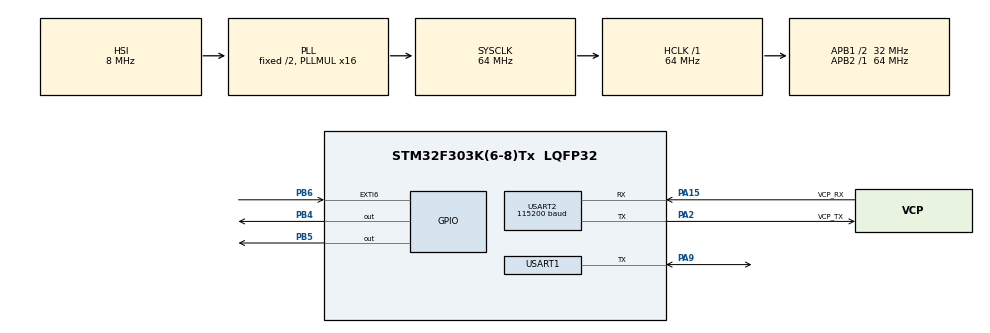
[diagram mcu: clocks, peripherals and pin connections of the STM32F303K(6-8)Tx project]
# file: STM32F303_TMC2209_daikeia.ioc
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Mcu.Family=STM32F3
Mcu.Name=STM32F303K(6-8)Tx
Mcu.Package=LQFP32
NVIC.EXTI9_5_IRQn=true\:0\:0\:false\:false\:true\:true\:true\:true
NVIC.PriorityGroup=NVIC_PRIORITYGROUP_4
NVIC.TIM3_IRQn=true\:0\:0\:false\:false\:true\:true\:true\:true
NVIC.USART2_IRQn=true\:0\:0\:false\:false\:true\:true\:true\:true
PA13.GPIO_Label=SWDIO
PA13.Mode=Serial_Wire
PA13.Signal=SYS_JTMS-SWDIO
PA14.GPIO_Label=SWCLK
PA14.Mode=Serial_Wire
PA14.Signal=SYS_JTCK-SWCLK
PA15.GPIO_Label=VCP_RX
PA15.Mode=Asynchronous
PA15.Signal=USART2_RX
PA2.GPIO_Label=VCP_TX
PA2.Mode=Asynchronous
PA2.Signal=USART2_TX
PA9.Mode=Half_duplex(single_wire_mode)
PA9.Signal=USART1_TX
PB4.Signal=GPIO_Output
PB5.Signal=GPIO_Output
PB6.GPIO_ModeDefaultEXTI=GPIO_MODE_IT_RISING_FALLING
PB6.Signal=GPXTI6
PF0\ /\ OSC_IN.GPIO_Label=MCO
PF0\ /\ OSC_IN.Signal=RCC_OSC_IN
ProjectManager.HeapSize=0x200
ProjectManager.StackSize=0x400
ProjectManager.TargetToolchain=STM32CubeIDE
RCC.AHBFreq_Value=64000000
RCC.APB1CLKDivider=RCC_HCLK_DIV2
RCC.APB1Freq_Value=32000000
RCC.APB1TimFreq_Value=64000000
RCC.APB2Freq_Value=64000000
RCC.APB2TimFreq_Value=64000000
RCC.CortexFreq_Value=64000000
RCC.HCLKFreq_Value=64000000
RCC.HSE_VALUE=8000000
RCC.HSI_VALUE=8000000
RCC.PLLMUL=RCC_PLL_MUL16
RCC.SYSCLKFreq_VALUE=64000000
RCC.SYSCLKSourceVirtual=RCC_SYSCLKSOURCE_PLLCLK
TIM3.Channel-Output\ Compare1\ No\ Output=TIM_CHANNEL_1
TIM3.Prescaler=128-1
USART1.BaudRate=115200
USART1.VirtualMode-Half_duplex(single_wire_mode)=VM_ASYNC
USART2.BaudRate=115200
USART2.VirtualMode-Asynchronous=VM_ASYNC
VP_TIM3_VS_ClockSourceINT.Mode=Internal
VP_TIM3_VS_no_output1.Mode=Output Compare1 No Output
board=NUCLEO-F303K8

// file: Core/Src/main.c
/* USER CODE BEGIN Header */
/**
  ******************************************************************************
  * @file           : main.c
  * @brief          : Main program body
  ******************************************************************************
  * @attention
  *
  * Copyright (c) 2022 STMicroelectronics.
  * All rights reserved.
  *
  * This software is licensed under terms that can be found in the LICENSE file
  * in the root directory of this software component.
  * If no LICENSE file comes with this software, it is provided AS-IS.
  *
  ******************************************************************************
  */
/* USER CODE END Header */
#include "main.h"

/* USER CODE BEGIN Includes */
#include <stdio.h>
#include "tmc/ic/TMC2209/TMC2209.h"
#include <math.h>

/* USER CODE END Includes */

/* USER CODE BEGIN PTD */
typedef struct {
	float acceleration;
	volatile unsigned int minStepInterval;
	void (*dirFunc)(int);
	void (*stepFunc)();

	uint8_t homing;
	unsigned int c0;
	volatile int stepPosition;

	volatile int dir; // 1 or -1
	volatile int dir_inv; //set 1 to reverse the dir

	volatile int pull_off; //set pull_off distance

	volatile int seeking_vel;
	volatile int homing_vel;

	volatile unsigned int totalSteps;

	volatile char movementDone;
	volatile unsigned int rampUpStepCount;
	volatile unsigned int n; // index
	volatile float d; // current interval length
	volatile unsigned long di; // d -> unsigned  di
	volatile unsigned int stepCount;

}stepperInfo;   //stepperInfo型の構造体にメンバを格納

/* USER CODE END PTD */

/* USER CODE BEGIN PD */
#define TMC2209_CRC(data, length) tmc_CRC8(data, length, 1)
//#define NUM_STEPPERS 1

/* USER CODE END PD */

 TIM_HandleTypeDef htim3;

UART_HandleTypeDef huart1;
UART_HandleTypeDef huart2;

/* USER CODE BEGIN PV */
//static TMC2209TypeDef TMC2209; //TMC2209の設定などの定義
//static ConfigurationTypeDef *TMC2209_config; //TMC2209の設定
TMC2209TypeDef TMC2209; //TMC2209の設定などの定義
ConfigurationTypeDef TMC2209_config; //TMC2209の設定

volatile stepperInfo steppers[0];    //stepperInfo型の配列stepperにNUM_STEPPERSで定義した値を代入
uint8_t end_stop_state = 0;
uint8_t homing_flag = 0;
/* USER CODE END PV */

void SystemClock_Config(void);
static void MX_GPIO_Init(void);
static void MX_USART2_UART_Init(void);
static void MX_USART1_UART_Init(void);
static void MX_TIM3_Init(void);
/* USER CODE BEGIN PFP */
//static void periodicJob(uint32_t tick);
static uint8_t reset(void);
static uint8_t restore(void);
//static TMC2209TypeDef TMC2209;

/* USER CODE END PFP */

/* USER CODE BEGIN 0 */

/*void HAL_TIM_PeriodElapsedCallback(TIM_HandleTypeDef *htim)
{
    if (htim == &htim3){ //htim3に設定したタイマー割り込みの時間で発火する
        HAL_GPIO_TogglePin(GPIOB, GPIO_PIN_5);//ピンの出力を切り替え
    }
}*/
void tmc2209_readWriteArray(uint8_t channel, uint8_t *data, size_t writeLength, size_t readLength)
{
	//set your uart read write
	//UART_readWrite(channelToUART(channel), data, writeLength, readLength);
	HAL_HalfDuplex_EnableTransmitter(&huart1);
	HAL_UART_Transmit(&huart1, data, writeLength,3000);

	if(readLength > 0){
		HAL_HalfDuplex_EnableReceiver(&huart1);
		HAL_UART_Receive(&huart1, data, readLength, 3000);
	}
}

uint8_t tmc2209_CRC8(uint8_t *data, size_t length)
{
	return TMC2209_CRC(data, length);
}

//static void periodicJob(uint32_t tick)
//{
//
//	tmc2209_periodicJob(&TMC2209, tick);
//
//	//StepDir_periodicJob(0);
//}

static uint8_t reset()
{
	//StepDir_init(STEPDIR_PRECISION);
	//StepDir_setPins(0, Pins.STEP, Pins.DIR, Pins.DIAG);

	return tmc2209_reset(&TMC2209);
}

static uint8_t restore()
{
	return tmc2209_restore(&TMC2209);
}

void TMC2209_INIT()
{
	tmc_fillCRC8Table(0x07, true, 1);

	TMC2209_config.reset = reset;
	TMC2209_config.restore = restore;
	tmc2209_init(&TMC2209, 0, 0, &TMC2209_config, &tmc2209_defaultRegisterResetState[0]);

	//restore();
}

static inline TMC2209TypeDef *motorToIC(uint8_t motor)
{
	UNUSED(motor);

	return &TMC2209;
}

void HAL_GPIO_EXTI_Callback(uint16_t GPIO_Pin)
{

	//stepper 0 end stop senssor
	if(GPIO_Pin == GPIO_PIN_6 ){
		if(!HAL_GPIO_ReadPin(GPIOB, GPIO_PIN_6)){	//
			end_stop_state |= 1;					//右辺が1ならend_stop_stateに1を代入
		}
		else if(HAL_GPIO_ReadPin(GPIOB, GPIO_PIN_6)){
			end_stop_state &= ~1;					//右辺（1）の歩数が0ならend_stop_stateに0を代入
		}
	}
}

void Step0(){                                       //step pin
	//pull+

	HAL_GPIO_WritePin(GPIOB, GPIO_PIN_5, GPIO_PIN_RESET);
	HAL_GPIO_WritePin(GPIOB, GPIO_PIN_5, GPIO_PIN_SET);
	/*
	 * pull-
	 * HAL_GPIO_WritePin(GPIOB, GPIO_PIN_5, GPIO_PIN_SET);
	 * HAL_GPIO_WritePin(GPIOB, GPIO_PIN_5, GPIO_PIN_RESET);
	 */
}

void Dir0(int dir){
	HAL_GPIO_WritePin(GPIOB, GPIO_PIN_4, dir); //Dir0関数にdirピンを指定して格納
}

void resetStepperInfo(stepperInfo * si){    //resetStepperInfo関数に引数をstepperInfo構造隊にポイント型変数siとして与える
	si->n = 0;  //変数*siがメンバnにアクセス.した値に0を代入する
	si->d = 0;
	si->di = 0;
	si->stepCount = 0;
	si->rampUpStepCount = 0;
	si->totalSteps = 0;
	si->stepPosition = 0;
	si->movementDone = 0;
}

void resetStepper(volatile stepperInfo* si){    //resetStepper関数に引数をstepperInfo構造隊にポイント型変数siとして与える
	si->c0 = si->acceleration;      //変数*siがメンバc0にアクセス.した値に変数*siがメンバaccelerationにアクセス.した値を代入する
	si->d = si->c0;
	si->di = si->d;
	si->stepCount = 0;
	si->n = 0;
	si->rampUpStepCount = 0;
	si->movementDone = 0;
}

//volatile uint8_t remainingSteppersFlag = 0; //remainingSteppersFlagをuint8_t型で定義し、初期化

void prepareMovement(int steps){  //prepareMovementで与えられたステップ数だけモータを回す（ホーミング時）
	if(steps == 0){                               //prepareMovementの第2引数が0なら
		return;                                   //何も返さない
	}
	volatile stepperInfo* si = &steppers[0];   //stepperInfo型のポイント型変数siにsteppersの配列をwhichMotorのアドレスとして所得して代入
	if(si->dir_inv){                                    //dirの方向がsiと同じなら
		si->dirFunc( steps < 0 ? 0 : 1);                //stepsが0より小さければ0を代入（方向変えない)
		si->dir = steps > 0 ? -1:1;                     //stepsが0より大きければ、dirに-1を代入
	}else{
		si->dirFunc( steps < 0 ? 1 : 0);
		si->dir = steps > 0 ? 1:-1;
	}
	si->totalSteps = abs(steps);                        //ポイント型変数siがメンバtotalStepsにアクセスし、stepsを引数にするabsを代入
	resetStepper(si);                                   //resetStepperにsiを引数として入れる
	//remainingSteppersFlag |= (1 << whichMotor);         //whichMotorの値を右側に1ビットシフトした値かremainingSteppersFlagの値が1なら、remainingSteppersFlagに1を代入
}

void prepareAbsoluteMovement(int absolute_steps){   //prepareAbsoluteMovementで与えられたステップ数だけモータを回す(main文から）
	volatile stepperInfo* si = &steppers[0];	//steppers[0]のアドレスをstepperInfo* si に代入
	int steps = absolute_steps - si->stepPosition;	//目標値から
	if(steps == 0){
		return;
	}
	si->dirFunc( steps < 0 ? 1 : 0);
	si->dir = steps > 0 ? 1:-1;
	si->totalSteps = abs(steps);
	resetStepper(si);
	//remainingSteppersFlag |= (1 << whichMotor);
}

volatile uint8_t nextStepperFlag = 0;

void setNextInterruptInterval(){

	unsigned int mind = 999999;

		if( steppers[0].di < mind ){
			mind = steppers[0].di;
		}

	nextStepperFlag = 0;

		if( steppers[0].di == mind ){
			nextStepperFlag |= (1 << 0);
		}

//	if (remainingSteppersFlag == 0){
//		__HAL_TIM_SET_COMPARE(&htim3, TIM_CHANNEL_1, 65500);    //65500→コンペアマッチさせない
//	}

	//__HAL_TIM_SET_COMPARE(&htim3, TIM_CHANNEL_1, mind);
	return;

}

void HAL_TIM_OC_DelayElapsedCallback(TIM_HandleTypeDef *htim){      //指定したコンペアを超えた時発火
	//HAL_TIM_OC_Stop_IT(&htim3, TIM_CHANNEL_1);
	unsigned int tmpCtr = __HAL_TIM_GET_COMPARE(&htim3, TIM_CHANNEL_1);
	__HAL_TIM_SET_COMPARE(&htim3, TIM_CHANNEL_1, 65500);

		if ( ! (nextStepperFlag) ){
			steppers[0].di -= tmpCtr;           //compareの値から1引いた値をsteppers[0].diに代入
		}

		volatile stepperInfo* s = &steppers[0];

		if( (s->stepCount) < (s->totalSteps) ){
			s->stepFunc();
			s->stepCount++;
			s->stepPosition += s->dir;
			if ( (s->stepCount) >= (s->totalSteps) ){
				s->movementDone = 1;
			}
		}

		if (s->rampUpStepCount == 0){
			s->n++;
			s->d = s->d - (2*s->d) / (4*s->n +1);	//加速の式
			if (s->d <= s->minStepInterval ){
				s->d = s->minStepInterval;
				s->rampUpStepCount = s->stepCount;
			}
			if (s->stepCount >= (s->totalSteps / 2) ){
				s->rampUpStepCount = s->stepCount;
			}
		} else if ( s->stepCount >= s->totalSteps - s->rampUpStepCount) {
			s->d = (s->d * (4 * s->n + 1)) / (4 * s->n + 1 -2);
			s->n--;
		}
		s->di = s->d;	//計算結果sをstepperInfoのメンバdに代入したものをメンバdiに代入

	setNextInterruptInterval();

	__HAL_TIM_SET_COUNTER(&htim3, 0);

}

void sensorStateInit(){
	if( ! HAL_GPIO_ReadPin(GPIOB, GPIO_PIN_6)){	//割り込みピンが真でない(1でない=0なら)
		end_stop_state |= 1;					//end_stop_stateに左辺か右辺が1なら1を代入
	}
}

void runAndWait(){
	setNextInterruptInterval();
	//while(remainingSteppersFlag);
}

void stepperHoming(){
	//homing_flag |= (1 << whichMotor);
	//seeking
	steppers[0].minStepInterval = steppers[0].seeking_vel;
	prepareMovement(-100000000);
	runAndWait();
	HAL_Delay(500);
	//pull-off

	homing_flag &= ~1;	//homing_flagの値と1の補数(11111110)をビットAND演算して、homing_flagに代入
	prepareMovement(steppers[0].pull_off);
	runAndWait();
	HAL_Delay(500);
	//homing

	homing_flag |= 1;
	steppers[0].minStepInterval = steppers[0].homing_vel;
	prepareMovement(-100000000);
	runAndWait();
	HAL_Delay(500);
	//pull-off
	homing_flag &= ~1;
	prepareMovement(steppers[0].pull_off);
	runAndWait();
	HAL_Delay(500);

	steppers[0].stepPosition = 0;
	steppers[0].homing = 1;
	steppers[0].minStepInterval = 100;
}

void TMCsetup(){
	int32_t mstep_value = 0;
	int32_t toff_value = 0;
	int32_t microstep_value = 0;
	int32_t stanby_value = 0;
	int32_t max_value = 0;
	mstep_value = TMC2209_FIELD_READ(&TMC2209, TMC2209_GCONF, TMC2209_MSTEP_REG_SELECT_MASK,TMC2209_MSTEP_REG_SELECT_SHIFT);	//uartでのmicrostepの有効化
	printf("mstep_before : %ld\r\n", mstep_value);
	mstep_value = 1;
	TMC2209_FIELD_UPDATE(&TMC2209, TMC2209_GCONF, TMC2209_MSTEP_REG_SELECT_MASK, TMC2209_MSTEP_REG_SELECT_SHIFT,mstep_value);
	tmc2209_periodicJob(&TMC2209, HAL_GetTick());
	mstep_value=TMC2209_FIELD_READ(&TMC2209, TMC2209_GCONF, TMC2209_MSTEP_REG_SELECT_MASK, TMC2209_MSTEP_REG_SELECT_SHIFT);
	printf("mstep_after : %ld\r\n", mstep_value);

	toff_value=TMC2209_FIELD_READ(&TMC2209, TMC2209_CHOPCONF, TMC2209_TOFF_MASK, TMC2209_TOFF_SHIFT);	//保持トルクの設定
	printf("toff_before : %ld\r\n", toff_value);
	toff_value = 3;
	TMC2209_FIELD_UPDATE(&TMC2209, TMC2209_CHOPCONF, TMC2209_TOFF_MASK, TMC2209_TOFF_SHIFT,toff_value);
	tmc2209_periodicJob(&TMC2209, HAL_GetTick());
	toff_value=TMC2209_FIELD_READ(&TMC2209, TMC2209_CHOPCONF, TMC2209_TOFF_MASK, TMC2209_TOFF_SHIFT);
	printf("toff_after : %ld\r\n", toff_value);

	microstep_value = 256 >> TMC2209_FIELD_READ(&TMC2209, TMC2209_CHOPCONF, TMC2209_MRES_MASK, TMC2209_MRES_SHIFT);	//microstepの設定
	printf("microstep_before : %ld\r\n", microstep_value);
	microstep_value = 4;
	TMC2209_FIELD_UPDATE(&TMC2209, TMC2209_CHOPCONF, TMC2209_MRES_MASK, TMC2209_MRES_SHIFT,microstep_value);
	tmc2209_periodicJob(&TMC2209, HAL_GetTick());
	microstep_value = 256 >> TMC2209_FIELD_READ(&TMC2209, TMC2209_CHOPCONF, TMC2209_MRES_MASK, TMC2209_MRES_SHIFT);
	printf("microstep_after : %ld\r\n", microstep_value);

	stanby_value=TMC2209_FIELD_READ(&TMC2209,TMC2209_IHOLD_IRUN, TMC2209_IHOLD_MASK, TMC2209_IHOLD_SHIFT);	//待機電流の設定
	printf("stanbycurrent_before: %ld\r\n", stanby_value);
	stanby_value = 10;
	TMC2209_FIELD_UPDATE(&TMC2209,TMC2209_IHOLD_IRUN, TMC2209_IHOLD_MASK, TMC2209_IHOLD_SHIFT, stanby_value);
	tmc2209_periodicJob(&TMC2209, HAL_GetTick());
	HAL_Delay(200);
	stanby_value=TMC2209_FIELD_READ(&TMC2209,TMC2209_IHOLD_IRUN, TMC2209_IHOLD_MASK, TMC2209_IHOLD_SHIFT);
	printf("stanbycurrent_after: %ld\r\n", stanby_value);

	max_value=TMC2209_FIELD_READ(&TMC2209, TMC2209_IHOLD_IRUN, TMC2209_IRUN_MASK, TMC2209_IRUN_SHIFT);	//最大電流の設定
	printf("maxumum_before: %ld\r\n", max_value);
	max_value = 10;
	TMC2209_FIELD_UPDATE(&TMC2209, TMC2209_IHOLD_IRUN, TMC2209_IRUN_MASK, TMC2209_IRUN_SHIFT, max_value);
	tmc2209_periodicJob(&TMC2209, HAL_GetTick());
	HAL_Delay(200);
	max_value=TMC2209_FIELD_READ(&TMC2209, TMC2209_IHOLD_IRUN, TMC2209_IRUN_MASK, TMC2209_IRUN_SHIFT);
	printf("maxumum_after: %ld\r\n", max_value);

}

/* USER CODE END 0 */

int main(void)
{
  /* USER CODE BEGIN 1 */
	setbuf(stdout, NULL);

  /* USER CODE END 1 */

  /* MCU Configuration--------------------------------------------------------*/

  /* Reset of all peripherals, Initializes the Flash interface and the Systick. */
  HAL_Init();

  /* Configure the system clock */
  SystemClock_Config();

  /* Initialize all configured peripherals */
  MX_GPIO_Init();
  MX_USART2_UART_Init();
  MX_USART1_UART_Init();
  MX_TIM3_Init();
  /* USER CODE BEGIN 2 */
  //int getserial=0;
  TMC2209_INIT();
  TMCsetup();
  printf("Hello\r\n");

  //int i;
   char rxbuf[1];
   char start[] ="1:front,2:back\r\n";
   char front[] ="front turn\r\n";
   char back[] ="back turn\r\n";
   char nonans[] ="Not Understand \r\n";

   HAL_UART_Transmit(&huart2,(uint8_t *)start,sizeof(start),3000);

  //printf("Start \r\n");

  //uint8_t rxbuf[1];
   //int32_t *value=3;

   //TMC2209_FIELD_UPDATE(&TMC2209, TMC2209_CHOPCONF, TMC2209_MRES_MASK, TMC2209_MRES_SHIFT, 3 );
   //Set stepper 1
   steppers[0].dirFunc = Dir0;
   steppers[0].stepFunc = Step0;
   steppers[0].acceleration = 5000;
   steppers[0].minStepInterval = 100;
   steppers[0].homing = 0;
   steppers[0].dir_inv = 1;
   steppers[0].seeking_vel = 100;
   steppers[0].homing_vel = 200;
   steppers[0].pull_off = 500;
     //Stepper 1 enable
    //pull+
   //HAL_GPIO_WritePin(GPIOB, GPIO_PIN_10, GPIO_PIN_SET);  //ena pin
    //pull-
    //HAL_GPIO_WritePin(GPIOB, GPIO_PIN_10, GPIO_PIN_RESET);

   //HAL_TIM_OC_Start_IT(&htim3, TIM_CHANNEL_1);

  /* USER CODE END 2 */

  /* Infinite loop */
  while (1)
  {

    /* USER CODE BEGIN 3 */
	  //example read register value
	  //int32_t value = 0;
	  HAL_UART_Receive(&huart2,(uint8_t *)rxbuf, sizeof(rxbuf), 100);
	  	  if (rxbuf[0] != 0){

	  		  HAL_UART_Transmit(&huart2,(uint8_t *)start, sizeof(start),3000);
	  		  //tmc2209_writeInt(motorToIC(motor), TMC2209_TPWMTHRS, *value);
	  		  if(rxbuf[0] == '1'){
	  			  HAL_UART_Transmit(&huart2,(uint8_t *)front, sizeof(front),3000);
	  			  printf("1:start");
	  			  prepareAbsoluteMovement(10000);
	  			  //runAndWait();
	  			  HAL_Delay(100);
	  			  prepareAbsoluteMovement(-10000);
	  			  //runAndWait();
	  			  HAL_Delay(100);
	  			  printf("1:end");

	  		  	  rxbuf[0]=0;
	  		  }
	  		  else if(rxbuf[0] == '2'){

	  			  HAL_UART_Transmit(&huart2,(uint8_t *)back, sizeof(back),3000);
	  			  prepareMovement(-100000);
	  			  runAndWait();
	  			  HAL_Delay(100);
	  			  	  //HAL_Delay(100);

	  			  rxbuf[0]=0;
	  		  }
	  		  else if(rxbuf[0] == '3'){
	  			  int32_t toff_value = 0;

				  toff_value=TMC2209_FIELD_READ(&TMC2209, TMC2209_CHOPCONF, TMC2209_TOFF_MASK, TMC2209_TOFF_SHIFT);
				  printf("toff_before : %ld\r\n", toff_value);
				  toff_value = 0;
				  TMC2209_FIELD_UPDATE(&TMC2209, TMC2209_CHOPCONF, TMC2209_TOFF_MASK, TMC2209_TOFF_SHIFT,toff_value);
				  tmc2209_periodicJob(&TMC2209, HAL_GetTick());
				  toff_value=TMC2209_FIELD_READ(&TMC2209, TMC2209_CHOPCONF, TMC2209_TOFF_MASK, TMC2209_TOFF_SHIFT);
				  printf("toff_after : %ld\r\n", toff_value);

				  rxbuf[0]=0;
	  		  }
	  		  else if(rxbuf[0] == '4'){
	  			  int32_t toff_value = 0;

	  			  toff_value=TMC2209_FIELD_READ(&TMC2209, TMC2209_CHOPCONF, TMC2209_TOFF_MASK, TMC2209_TOFF_SHIFT);
	  			  printf("toff_before : %ld\r\n", toff_value);
	  			  toff_value = 3;
	  			  TMC2209_FIELD_UPDATE(&TMC2209, TMC2209_CHOPCONF, TMC2209_TOFF_MASK, TMC2209_TOFF_SHIFT,toff_value);
	  			  tmc2209_periodicJob(&TMC2209, HAL_GetTick());
	  			  toff_value=TMC2209_FIELD_READ(&TMC2209, TMC2209_CHOPCONF, TMC2209_TOFF_MASK, TMC2209_TOFF_SHIFT);
	  			  printf("toff_after : %ld\r\n", toff_value);

	  			  rxbuf[0]=0;
	  			  		  }
	  		  else{
	  			  HAL_UART_Transmit(&huart2,(uint8_t *)nonans, sizeof(nonans),3000);
	  			  rxbuf[0]=0;
	  		  }

	  	  }

	  //HAL_Delay(100);
  }

  /* USER CODE END 3 */
}

void SystemClock_Config(void)
{
  RCC_OscInitTypeDef RCC_OscInitStruct = {0};
  RCC_ClkInitTypeDef RCC_ClkInitStruct = {0};
  RCC_PeriphCLKInitTypeDef PeriphClkInit = {0};

  /** Initializes the RCC Oscillators according to the specified parameters
  * in the RCC_OscInitTypeDef structure.
  */
  RCC_OscInitStruct.OscillatorType = RCC_OSCILLATORTYPE_HSI;
  RCC_OscInitStruct.HSIState = RCC_HSI_ON;
  RCC_OscInitStruct.HSICalibrationValue = RCC_HSICALIBRATION_DEFAULT;
  RCC_OscInitStruct.PLL.PLLState = RCC_PLL_ON;
  RCC_OscInitStruct.PLL.PLLSource = RCC_PLLSOURCE_HSI;
  RCC_OscInitStruct.PLL.PLLMUL = RCC_PLL_MUL16;
  if (HAL_RCC_OscConfig(&RCC_OscInitStruct) != HAL_OK)
  {
    Error_Handler();
  }

  /** Initializes the CPU, AHB and APB buses clocks
  */
  RCC_ClkInitStruct.ClockType = RCC_CLOCKTYPE_HCLK|RCC_CLOCKTYPE_SYSCLK
                              |RCC_CLOCKTYPE_PCLK1|RCC_CLOCKTYPE_PCLK2;
  RCC_ClkInitStruct.SYSCLKSource = RCC_SYSCLKSOURCE_PLLCLK;
  RCC_ClkInitStruct.AHBCLKDivider = RCC_SYSCLK_DIV1;
  RCC_ClkInitStruct.APB1CLKDivider = RCC_HCLK_DIV2;
  RCC_ClkInitStruct.APB2CLKDivider = RCC_HCLK_DIV1;

  if (HAL_RCC_ClockConfig(&RCC_ClkInitStruct, FLASH_LATENCY_2) != HAL_OK)
  {
    Error_Handler();
  }
  PeriphClkInit.PeriphClockSelection = RCC_PERIPHCLK_USART1;
  PeriphClkInit.Usart1ClockSelection = RCC_USART1CLKSOURCE_PCLK1;
  if (HAL_RCCEx_PeriphCLKConfig(&PeriphClkInit) != HAL_OK)
  {
    Error_Handler();
  }
}

static void MX_TIM3_Init(void)
{

  TIM_ClockConfigTypeDef sClockSourceConfig = {0};
  TIM_MasterConfigTypeDef sMasterConfig = {0};
  TIM_OC_InitTypeDef sConfigOC = {0};

  htim3.Instance = TIM3;
  htim3.Init.Prescaler = 128-1;
  htim3.Init.CounterMode = TIM_COUNTERMODE_UP;
  htim3.Init.Period = 65535;
  htim3.Init.ClockDivision = TIM_CLOCKDIVISION_DIV1;
  htim3.Init.AutoReloadPreload = TIM_AUTORELOAD_PRELOAD_DISABLE;
  if (HAL_TIM_Base_Init(&htim3) != HAL_OK)
  {
    Error_Handler();
  }
  sClockSourceConfig.ClockSource = TIM_CLOCKSOURCE_INTERNAL;
  if (HAL_TIM_ConfigClockSource(&htim3, &sClockSourceConfig) != HAL_OK)
  {
    Error_Handler();
  }
  if (HAL_TIM_OC_Init(&htim3) != HAL_OK)
  {
    Error_Handler();
  }
  sMasterConfig.MasterOutputTrigger = TIM_TRGO_RESET;
  sMasterConfig.MasterSlaveMode = TIM_MASTERSLAVEMODE_DISABLE;
  if (HAL_TIMEx_MasterConfigSynchronization(&htim3, &sMasterConfig) != HAL_OK)
  {
    Error_Handler();
  }
  sConfigOC.OCMode = TIM_OCMODE_TIMING;
  sConfigOC.Pulse = 0;
  sConfigOC.OCPolarity = TIM_OCPOLARITY_HIGH;
  sConfigOC.OCFastMode = TIM_OCFAST_DISABLE;
  if (HAL_TIM_OC_ConfigChannel(&htim3, &sConfigOC, TIM_CHANNEL_1) != HAL_OK)
  {
    Error_Handler();
  }

}

static void MX_USART1_UART_Init(void)
{

  huart1.Instance = USART1;
  huart1.Init.BaudRate = 115200;
  huart1.Init.WordLength = UART_WORDLENGTH_8B;
  huart1.Init.StopBits = UART_STOPBITS_1;
  huart1.Init.Parity = UART_PARITY_NONE;
  huart1.Init.Mode = UART_MODE_TX_RX;
  huart1.Init.HwFlowCtl = UART_HWCONTROL_NONE;
  huart1.Init.OverSampling = UART_OVERSAMPLING_16;
  huart1.Init.OneBitSampling = UART_ONE_BIT_SAMPLE_DISABLE;
  huart1.AdvancedInit.AdvFeatureInit = UART_ADVFEATURE_NO_INIT;
  if (HAL_HalfDuplex_Init(&huart1) != HAL_OK)
  {
    Error_Handler();
  }

}

static void MX_USART2_UART_Init(void)
{

  huart2.Instance = USART2;
  huart2.Init.BaudRate = 115200;
  huart2.Init.WordLength = UART_WORDLENGTH_8B;
  huart2.Init.StopBits = UART_STOPBITS_1;
  huart2.Init.Parity = UART_PARITY_NONE;
  huart2.Init.Mode = UART_MODE_TX_RX;
  huart2.Init.HwFlowCtl = UART_HWCONTROL_NONE;
  huart2.Init.OverSampling = UART_OVERSAMPLING_16;
  huart2.Init.OneBitSampling = UART_ONE_BIT_SAMPLE_DISABLE;
  huart2.AdvancedInit.AdvFeatureInit = UART_ADVFEATURE_NO_INIT;
  if (HAL_UART_Init(&huart2) != HAL_OK)
  {
    Error_Handler();
  }

}

static void MX_GPIO_Init(void)
{
  GPIO_InitTypeDef GPIO_InitStruct = {0};

  /* GPIO Ports Clock Enable */
  __HAL_RCC_GPIOF_CLK_ENABLE();
  __HAL_RCC_GPIOA_CLK_ENABLE();
  __HAL_RCC_GPIOB_CLK_ENABLE();

  /*Configure GPIO pin Output Level */
  HAL_GPIO_WritePin(GPIOB, GPIO_PIN_4|GPIO_PIN_5, GPIO_PIN_RESET);

  /*Configure GPIO pins : PB4 PB5 */
  GPIO_InitStruct.Pin = GPIO_PIN_4|GPIO_PIN_5;
  GPIO_InitStruct.Mode = GPIO_MODE_OUTPUT_PP;
  GPIO_InitStruct.Pull = GPIO_NOPULL;
  GPIO_InitStruct.Speed = GPIO_SPEED_FREQ_LOW;
  HAL_GPIO_Init(GPIOB, &GPIO_InitStruct);

  /*Configure GPIO pin : PB6 */
  GPIO_InitStruct.Pin = GPIO_PIN_6;
  GPIO_InitStruct.Mode = GPIO_MODE_IT_RISING_FALLING;
  GPIO_InitStruct.Pull = GPIO_NOPULL;
  HAL_GPIO_Init(GPIOB, &GPIO_InitStruct);

  /* EXTI interrupt init*/
  HAL_NVIC_SetPriority(EXTI9_5_IRQn, 0, 0);
  HAL_NVIC_EnableIRQ(EXTI9_5_IRQn);

}

/* USER CODE BEGIN 4 */
int _write(int file, char *ptr, int len)
{
  HAL_UART_Transmit(&huart2,(uint8_t *)ptr,len,10);
  return len;
}

//int _write(int file, char *ptr, int len)
//{
//  int DataIdx;
//  for(DataIdx=0; DataIdx<len; DataIdx++)
//  {
//    ITM_SendChar(*ptr++);
//  }
//  return len;
//}

/* USER CODE END 4 */

void Error_Handler(void)
{
  __disable_irq();
  while (1)
  {
  }
}
